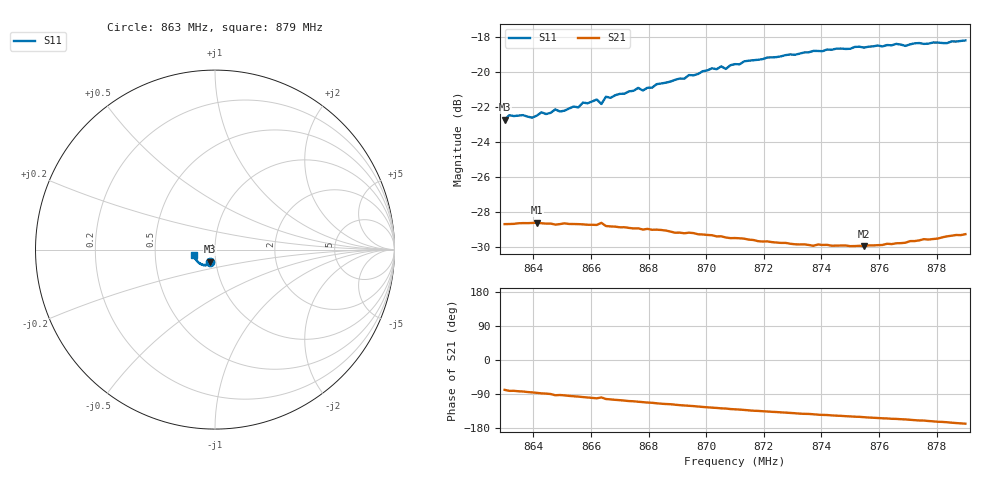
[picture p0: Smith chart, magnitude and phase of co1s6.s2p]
# HZ S RI R 50
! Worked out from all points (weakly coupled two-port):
!   101 points, 863 MHz to 879 MHz, reference 50 ohm
!   highest |S21| = -28.61 dB at 864.12 MHz (marker M1); lowest = -30.0 dB at 875.48 MHz (marker M2)
!   lowest |S11| = -22.7 dB at 863 MHz (marker M3), VSWR 1.16, Z = 46.8 - j6.31 ohm
!   |S11| at or under -10 dB: start of sweep to end of sweep
!   S12 and S22 are empty: the file has one direction only
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8.63e8  -0.029 -0.0671  0.00719 -0.036  0 0  0 0
8.6316e8  -0.0306 -0.0688  0.00548 -0.0364  0 0  0 0
8.6412e8  -0.0292 -0.0693  0.0021 -0.0371  0 0  0 0
8.6476e8  -0.0301 -0.0722  -0.00196 -0.0366  0 0  0 0
8.6492e8  -0.0295 -0.0713  -0.00153 -0.0367  0 0  0 0
8.6556e8  -0.0297 -0.0735  -0.00423 -0.0365  0 0  0 0
8.6572e8  -0.0302 -0.0761  -0.00501 -0.0364  0 0  0 0
8.662e8  -0.0324 -0.077  -0.00706 -0.0359  0 0  0 0
8.6636e8  -0.0264 -0.0767  -0.00564 -0.0366  0 0  0 0
8.6652e8  -0.0327 -0.0786  -0.00815 -0.0354  0 0  0 0
8.6668e8  -0.0319 -0.0782  -0.00872 -0.0351  0 0  0 0
8.6764e8  -0.0381 -0.0818  -0.0123 -0.0336  0 0  0 0
8.678e8  -0.0369 -0.0806  -0.0128 -0.0331  0 0  0 0
8.6844e8  -0.0408 -0.0834  -0.0152 -0.0319  0 0  0 0
8.702e8  -0.0534 -0.0877  -0.02 -0.0277  0 0  0 0
8.7052e8  -0.0568 -0.087  -0.0207 -0.0269  0 0  0 0
8.7068e8  -0.0562 -0.0853  -0.0208 -0.0265  0 0  0 0
8.71e8  -0.061 -0.0861  -0.0216 -0.0257  0 0  0 0
8.7372e8  -0.0835 -0.0791  -0.0255 -0.0191  0 0  0 0
8.7548e8  -0.0966 -0.0671  -0.0278 -0.0154  0 0  0 0
8.7644e8  -0.104 -0.0586  -0.0293 -0.0135  0 0  0 0
8.79e8  -0.1188 -0.0327  -0.0337 -0.00711  0 0  0 0
